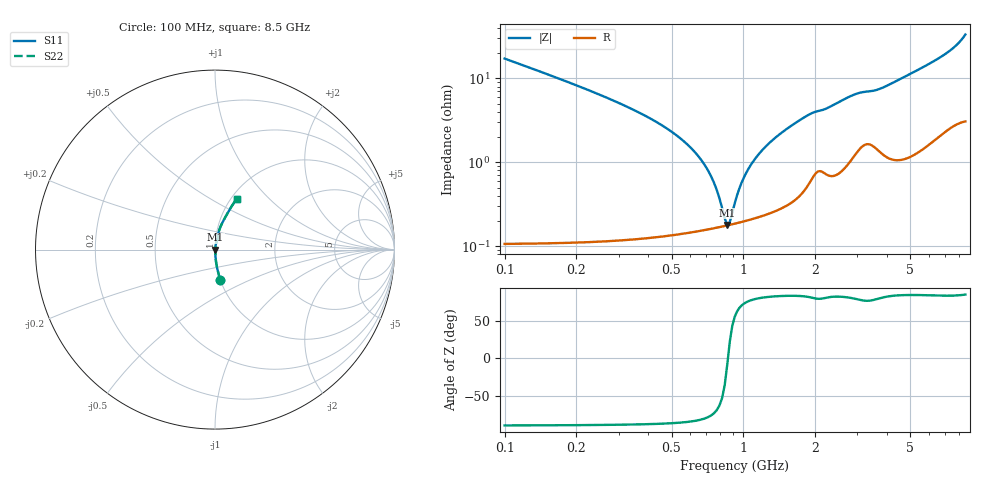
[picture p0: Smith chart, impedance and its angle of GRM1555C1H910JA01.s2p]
!Murata Part Number: GRM1555C1H910JA01
!These Parameters are Measured in Series Mode Connection
!Data Generated on Mar 30, 2021
!  o--ll--o
!Port1  Port2
!  o------o
!Operation Temp=25[degC], DC Bias Voltage=0[V]
!Freq. Start=100[MHz] Stop=9[GHz] 401[Steps]
# Hz S RI R 50
!Freq.(Hz) S11(Real) S11(Imag) S21(Real) S21(Imag) S12(Real) S12(Imag) S22(Real) S22(Imag)
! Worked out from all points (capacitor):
!   401 points, 100 MHz to 8.5 GHz, reference 50 ohm
!   read as one part in series: C = 91 pF near 142 MHz
!   lowest |Z| = 179 mohm at 856 MHz (marker M1)
!   series resonance near 861.3 MHz, so ESL is about 380 pH
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1e8  0.0299 -0.1672  0.9701 0.1672  0.9701 0.1672  0.0299 -0.1672
2.68e8  0.00459 -0.0586  0.9954 0.0586  0.9954 0.0586  0.00459 -0.0586
5.41e8  0.00177 -0.0195  0.9982 0.0195  0.9982 0.0195  0.00177 -0.0195
6.46e8  0.00164 -0.0118  0.9984 0.0118  0.9984 0.0118  0.00164 -0.0118
7.3e8  0.00165 -0.00671  0.9984 0.00671  0.9984 0.00671  0.00165 -0.00671
8.14e8  0.00172 -0.00228  0.9983 0.00228  0.9983 0.00228  0.00172 -0.00228
8.35e8  0.00174 -0.00125  0.9983 0.00125  0.9983 0.00125  0.00174 -0.00125
8.56e8  0.00177 -0.000247  0.9982 0.000247  0.9982 0.000247  0.00177 -0.000247
8.77e8  0.00179 0.000733  0.9982 -0.000733  0.9982 -0.000733  0.00179 0.000733
8.98e8  0.00182 0.00169  0.9982 -0.00169  0.9982 -0.00169  0.00182 0.00169
9.61e8  0.00193 0.00445  0.9981 -0.00445  0.9981 -0.00445  0.00193 0.00445
1.003e9  0.00201 0.0062  0.998 -0.0062  0.998 -0.0062  0.00201 0.0062
1.108e9  0.00224 0.0103  0.9978 -0.0103  0.9978 -0.0103  0.00224 0.0103
1.276e9  0.0027 0.0165  0.9973 -0.0165  0.9973 -0.0165  0.0027 0.0165
1.507e9  0.00359 0.0243  0.9964 -0.0243  0.9964 -0.0243  0.00359 0.0243
1.927e9  0.00757 0.0374  0.9924 -0.0374  0.9924 -0.0374  0.00757 0.0374
2.914e9  0.0156 0.0615  0.9844 -0.0615  0.9844 -0.0615  0.0156 0.0615
3.628e9  0.0189 0.0695  0.9811 -0.0695  0.9811 -0.0695  0.0189 0.0695
4.3e9  0.0184 0.0879  0.9816 -0.0879  0.9816 -0.0879  0.0184 0.0879
5.707e9  0.0322 0.1312  0.9678 -0.1312  0.9678 -0.1312  0.0322 0.1312
7.114e9  0.0594 0.1842  0.9406 -0.1842  0.9406 -0.1842  0.0594 0.1842
8.5e9  0.1215 0.2838  0.8785 -0.2838  0.8785 -0.2838  0.1215 0.2838
